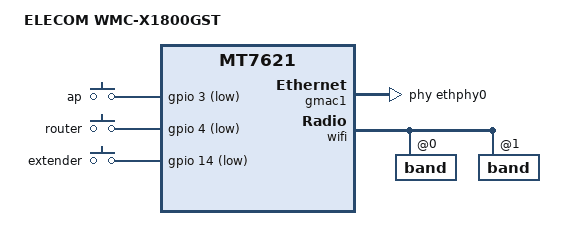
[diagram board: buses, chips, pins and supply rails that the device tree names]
// SPDX-License-Identifier: GPL-2.0-or-later OR MIT

#include "mt7621_elecom_wxc-x1800gsx.dtsi"

/ {
	compatible = "elecom,wmc-x1800gst", "mediatek,mt7621-soc";
	model = "ELECOM WMC-X1800GST";

	aliases {
		label-mac-device = &gmac1;
	};
};

&keys {
	switch-ap {
		label = "ap";
		gpios = <&gpio 3 GPIO_ACTIVE_LOW>;
		linux,code = <BTN_0>;
		linux,input-type = <EV_SW>;
	};

	switch-router {
		label = "router";
		gpios = <&gpio 4 GPIO_ACTIVE_LOW>;
		linux,code = <BTN_1>;
		linux,input-type = <EV_SW>;
	};

	switch-extender {
		label = "extender";
		gpios = <&gpio 14 GPIO_ACTIVE_LOW>;
		linux,code = <BTN_2>;
		linux,input-type = <EV_SW>;
	};
};

&gmac1 {
	status = "okay";
	label = "wan";
	phy-handle = <&ethphy0>;

	nvmem-cells = <&macaddr_factory_3fffa>;
	nvmem-cell-names = "mac-address";
};

&ethphy0 {
	/delete-property/ interrupts;
};

&state_default {
	gpio {
		groups = "i2c", "uart3", "uart2", "jtag", "wdt";
		function = "gpio";
	};
};

&wifi {
	band@0 {
		reg = <0>;
		nvmem-cells = <&macaddr_factory_4 0>;
		nvmem-cell-names = "mac-address";
	};

	band@1 {
		reg = <1>;
		nvmem-cells = <&macaddr_factory_4 1>;
		nvmem-cell-names = "mac-address";
	};
};
